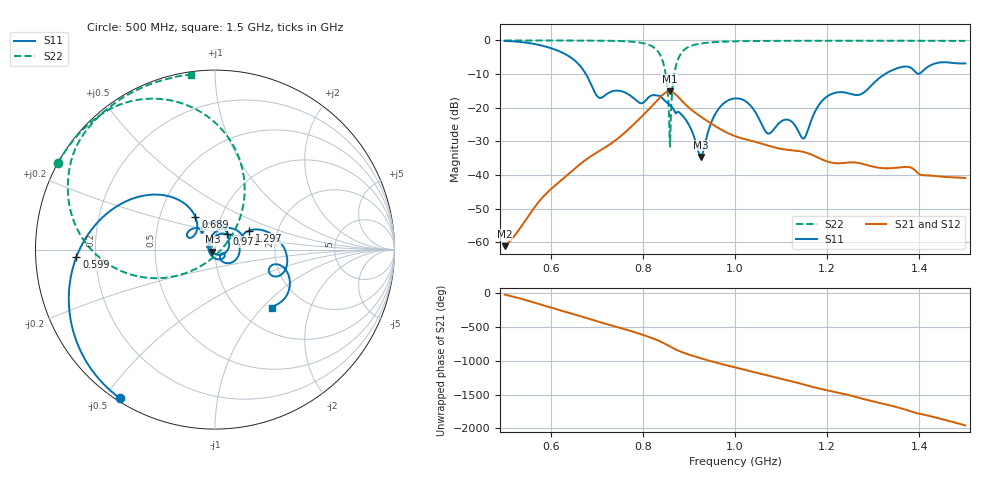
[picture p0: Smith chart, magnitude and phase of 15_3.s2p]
! TOUCHSTONE file generated by CST MICROWAVE STUDIO
! Date and time: Fri Oct  2 16:38:53 2020
! Project name: Scenario_1_Free_Space_out_of_line.cst
! Parameters = {Lambda=346.42; Step_1=17.321; dy1=104.866; dx1=520; L_HA=400; MT=2.54; Rad_Dielectric=30; Rad_Lower=7.3; Rad_Upper=30; a_HA=580; a_WG=246; b_HA=500; b_WG=121; c_HA=0; c_WG=187; d_feed=85; h_feed=15; h_lower=18; h_upper=40}
! Header version: 2018
! Port assignment regex: !\s*Touchstone port\s*([0-9]+)\s*=\s*(CST MWS port|CST DS port)\s*([0-9]+|Zmin|Zmax)\s*\(\"(.*)\"\)(\s*mode\s*([0-9]+))?.*
! Touchstone port assignment:
! Touchstone port 1 = CST MWS port 1 ("")
! Touchstone port 2 = CST MWS port 2 ("")
# GHz S DB R 50
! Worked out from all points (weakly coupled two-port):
!   1003 points, 500 MHz to 1.5 GHz, reference 50 ohm
!   highest |S21| = -15.16 dB at 858 MHz (marker M1); lowest = -61.2 dB at 500 MHz (marker M2)
!   lowest |S11| = -34.6 dB at 926 MHz (marker M3), VSWR 1.04, Z = 48.5 - j1.09 ohm
!   |S11| at or under -10 dB: 676.3 MHz to 1.325 GHz (649.1 MHz wide, 64.9 % of centre)
!   |S22| runs from -31.6 to 0.0 dB; largest |S21 - S12| = 5e-06
!   S11 on the Smith chart (normalised r, x): 500 MHz: 0.01, -0.55; 599 MHz: 0.13, -0.03; 689 MHz: 0.76, +0.29; 971 MHz: 1.12, +0.20; 1.297 GHz: 1.43, +0.32; 1.5 GHz: 1.38, -1.14
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0.5  -0.15 -122.7  -61.20 -21.7  -61.20 -21.7  -0.01 151.1
0.599  -2.23 -176.9  -44.42 148.2  -44.42 148.2  -0.02 144.2
0.667  -8.09 130.9  -36.46 13.0  -36.46 13.0  -0.04 138.3
0.689  -13.47 121.0  -34.29 -33.2  -34.29 -33.2  -0.06 136.0
0.781  -17.29 124.5  -24.85 145.0  -24.85 145.0  -0.43 119.8
0.834  -16.40 88.7  -17.42 16.2  -17.42 16.2  -3.50 86.6
0.847  -17.83 65.1  -15.73 -25.4  -15.73 -25.4  -8.15 65.0
0.858  -19.15 48.9  -15.16 -65.3  -15.16 -65.3  -28.58 4.0
0.862  -19.68 42.6  -15.27 -80.1  -15.27 -80.1  -18.63 -130.0
0.868  -20.82 33.1  -15.72 -101.4  -15.72 -101.4  -10.13 -149.9
0.879  -21.41 21.0  -17.12 -136.1  -17.12 -136.1  -4.79 -170.3
0.926  -34.65 -142.6  -22.71 116.4  -22.71 116.4  -0.92 155.7
0.971  -19.29 53.6  -26.61 31.5  -26.61 31.5  -0.38 144.9
1  -17.24 3.4  -28.47 -17.2  -28.47 -17.2  -0.25 140.3
1.072  -27.72 -40.8  -31.29 -139.3  -31.29 -139.3  -0.14 132.2
1.113  -23.55 -44.7  -32.52 153.6  -32.52 153.6  -0.12 128.6
1.149  -29.17 -162.8  -33.19 89.8  -33.19 89.8  -0.11 125.6
1.167  -23.24 113.2  -34.02 56.7  -34.02 56.7  -0.10 124.2
1.205  -16.23 48.6  -36.21 -3.3  -36.21 -3.3  -0.08 121.2
1.297  -13.23 29.0  -37.46 -155.6  -37.46 -155.6  -0.08 114.3
1.334  -9.33 12.3  -38.03 144.7  -38.03 144.7  -0.09 111.4
1.5  -6.83 -45.9  -40.94 -155.2  -40.94 -155.2  -0.14 97.9
